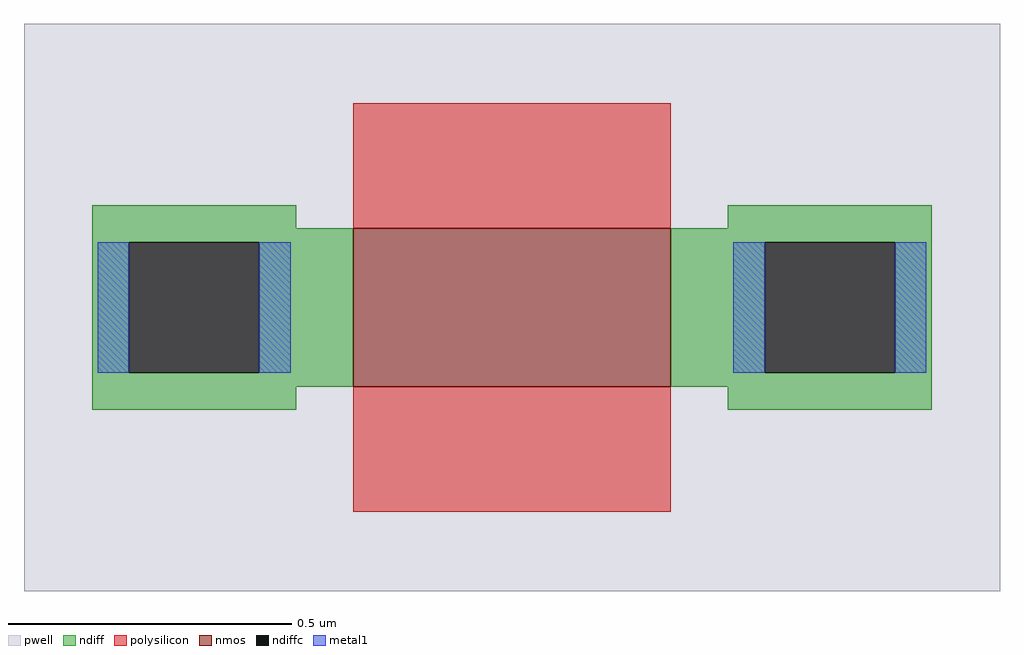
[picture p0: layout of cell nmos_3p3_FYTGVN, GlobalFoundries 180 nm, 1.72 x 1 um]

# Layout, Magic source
magic
tech gf180mcuD
magscale 1 10
<< pwell >>
rect -172 -100 172 100
<< nmos >>
rect -56 -28 56 28
<< ndiff >>
rect -148 28 -76 36
rect 76 28 148 36
rect -148 23 -56 28
rect -148 -23 -135 23
rect -89 -23 -56 23
rect -148 -28 -56 -23
rect 56 23 148 28
rect 56 -23 89 23
rect 135 -23 148 23
rect 56 -28 148 -23
rect -148 -36 -76 -28
rect 76 -36 148 -28
<< ndiffc >>
rect -135 -23 -89 23
rect 89 -23 135 23
<< polysilicon >>
rect -56 28 56 72
rect -56 -72 56 -28
<< metal1 >>
rect -146 -23 -135 23
rect -89 -23 -78 23
rect 78 -23 89 23
rect 135 -23 146 23
<< end >>
